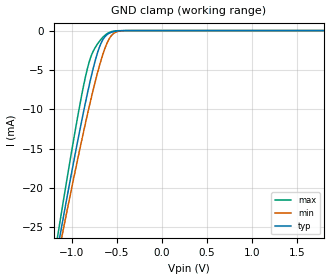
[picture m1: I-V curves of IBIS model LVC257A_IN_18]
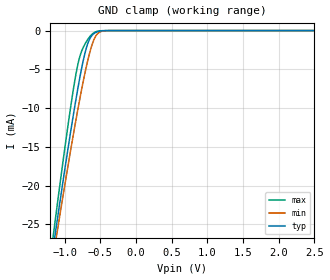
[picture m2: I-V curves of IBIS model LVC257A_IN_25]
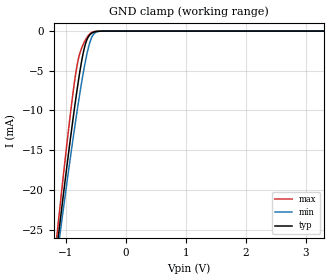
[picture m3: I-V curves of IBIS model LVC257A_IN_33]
| TEXAS INSTRUMENTS INCORPORATED
| Standard Linear and Logic Group
| IBIS Model of SN74LVC257A
| QUADRUPLE 2-LINE TO 1-LINE DATA SELECTORS/MULTIPLEXERS WITH 3-STATE OUTPUTS
| This file contains package information for the following:
|  SOIC 16-pin (D) package as [Component] LVC257A_D
|  SOP 16-pin (NS) package as [Component] LVC257A_NS
|  SSOP 16-pin (DB) package as [Component] LVC257A_DB
|  TSSOP 16-pin (PW) package as [Component] LVC257A_PW
| This device can be powered at the following Vccs:
|  1.8 volt Vcc
|  2.5 volt Vcc
|  3.3 volt Vcc
| This file provides unique models under the [Model Selector] for each Vcc.
| For operation at a specific Vcc, select the appropriate model after each
| [Model Selector] keyword.
[IBIS Ver]   3.2
[Comment char]  |_char
[File Name]   sn74lvc257a.ibs
[File Rev]   1.1 | j-die
[Date]   July 17, 2002
[Source]   Data created from TI-SPICE simulations at TI-SLL.
[Notes]   The following is an IBIS list for the LVC257A.
   Please contact sllibis@ti.com with questions and
   comments concerning SLL IBIS models.
   -Due the absense of Power Clamp diodes, we have removed
   Power Clamp Table data from some Models.
   -Due to the fact that the Device is 5.5-V Input tolarent,
   the pulldown model has some Non-Monotonic Warnings.
[Disclaimer] Property of Texas Instruments Incorporated.  Unauthorized
                reproduction and/or distribution is strictly prohibited.
                This product is protected under copyright law.
                Created  2002, (C) Copyright  2002, Texas Instruments
                Incorporated, All Rights Reserved
                UNLESS THERE IS A SIGNED, WRITTEN AGREEMENT TO THE
                CONTRARY, TEXAS INSTRUMENTS (TI) IS PROVIDING THE IBIS
                MODELS  AND WITHOUT ANY WARRANTY, EXPRESSED OR
                IMPLIED.  TI assumes no liability for:
                 1) the accuracy of the IBIS models provided to your
                    company;
                 2) the proper functioning of these IBIS Models in your
                    design or for any resulting applications; or
                 3) infringement of patents, copyrights or intellectual
                    property rights resulting from your use of these IBIS
                    models.
                TI provides IBIS Models as a service to our customers.
                You and your company shall not distribute, sell or give
                these models to anyone else without prior written
                permission from TI.
                TI reserves the right to make changes to our products or
                to discontinue any semiconductor product or service
                without notice, and advises our customers to obtain the
                latest version of relevant information to verify, before
                placing orders, that the information being relied on is
                current.
                Please be aware that your receipt and use of the IBIS
                information provided shall serve as acceptance of these
                terms and conditions.  If you do not accept these terms,
                you should return or destroy the IBIS models and any
                other accompanying information immediately.
| Component LVC257A_D 16-pin SOIC
[Component]   LVC257_D
[Manufacturer]   Texas Instruments, Inc.
[Package]
|   typ   min   max
R_pkg   3.900e-02   2.800e-02   4.900e-02
L_pkg   3.453e-09   2.350e-09   4.375e-09
C_pkg   5.210e-13   2.540e-13   7.080e-13
[Pin]   signal_name   model_name   R_pin   L_pin   C_pin
1   SEL   LVC257A_IN   4.200e-02   4.336e-09   7.030e-13
2   1A   LVC257A_IN   4.900e-02   3.778e-09   6.340e-13
3   1B   LVC257A_IN   2.800e-02   3.449e-09   5.180e-13
4   1Y   LVC257A_OUT   2.900e-02   2.393e-09   2.540e-13
5   2A   LVC257A_IN   2.800e-02   2.350e-09   2.640e-13
6   2B   LVC257A_IN   4.800e-02   3.312e-09   4.830e-13
7   2Y   LVC257A_OUT   4.300e-02   3.629e-09   6.040e-13
8   GND   GND   4.400e-02   4.375e-09   7.080e-13
9   3Y   LVC257A_OUT   4.200e-02   4.336e-09   7.030e-13
10   3B   LVC257A_IN   4.900e-02   3.778e-09   6.340e-13
11   3A   LVC257A_IN   2.800e-02   3.449e-09   5.180e-13
12   4Y   LVC257A_OUT   2.900e-02   2.393e-09   2.550e-13
13   4B   LVC257A_IN   2.800e-02   2.350e-09   2.640e-13
14   4A   LVC257A_IN   4.800e-02   3.312e-09   4.830e-13
15   G   LVC257A_IN   4.300e-02   3.629e-09   6.040e-13
16   VCC   POWER   4.400e-02   4.375e-09   7.080e-13
| Component LVC257A_NS 16-pin SOP
[Component]   LVC257_NS
[Manufacturer]   Texas Instruments, Inc.
[Package]
|   typ   min   max
R_pkg   4.200e-02   3.500e-02   4.900e-02
L_pkg   3.147e-09   2.164e-09   4.219e-09
C_pkg   4.040e-13   2.410e-13   5.620e-13
[Pin]   signal_name   model_name   R_pin   L_pin   C_pin
1   SEL   LVC257A_IN   4.900e-02   4.215e-09   5.620e-13
2   1A   LVC257A_IN   4.600e-02   3.675e-09   4.800e-13
3   1B   LVC257A_IN   3.700e-02   2.527e-09   3.320e-13
4   1Y   LVC257A_OUT   3.500e-02   2.164e-09   2.410e-13
5   2A   LVC257A_IN   3.500e-02   2.164e-09   2.410e-13
6   2B   LVC257A_IN   3.700e-02   2.527e-09   3.320e-13
7   2Y   LVC257A_OUT   4.600e-02   3.675e-09   4.800e-13
8   GND   GND   4.900e-02   4.215e-09   5.620e-13
9   3Y   LVC257A_OUT   4.900e-02   4.219e-09   5.620e-13
10   3B   LVC257A_IN   4.600e-02   3.679e-09   4.800e-13
11   3A   LVC257A_IN   3.700e-02   2.531e-09   3.330e-13
12   4Y   LVC257A_OUT   3.500e-02   2.168e-09   2.410e-13
13   4B   LVC257A_IN   3.500e-02   2.168e-09   2.410e-13
14   4A   LVC257A_IN   3.700e-02   2.531e-09   3.330e-13
15   OEBAR   LVC257A_IN_OEBAR   4.600e-02   3.679e-09   4.800e-13
16   VCC   POWER   4.900e-02   4.219e-09   5.620e-13
| Component LVC257A_DB 16-pin SSOP
[Component]   LVC257_DB
[Manufacturer]   Texas Instruments, Inc.
[Package]
|   typ   min   max
R_pkg   4.800e-02   4.600e-02   5.000e-02
L_pkg   3.536e-09   3.213e-09   3.798e-09
C_pkg   3.760e-13   3.140e-13   4.400e-13
[Pin]   signal_name   model_name   R_pin   L_pin   C_pin
1   SEL   LVC257A_IN   4.800e-02   3.797e-09   3.770e-13
2   1A   LVC257A_IN   4.600e-02   3.723e-09   4.400e-13
3   1B   LVC257A_IN   4.800e-02   3.409e-09   3.720e-13
4   1Y   LVC257A_OUT   4.900e-02   3.213e-09   3.140e-13
5   2A   LVC257A_IN   4.900e-02   3.213e-09   3.140e-13
6   2B   LVC257A_IN   4.800e-02   3.409e-09   3.720e-13
7   2Y   LVC257A_OUT   4.600e-02   3.723e-09   4.400e-13
8   GND   GND   4.800e-02   3.798e-09   3.770e-13
9   3Y   LVC257A_OUT   4.800e-02   3.797e-09   3.770e-13
10   3B   LVC257A_IN   4.600e-02   3.725e-09   4.400e-13
11   3A   LVC257A_IN   4.800e-02   3.409e-09   3.720e-13
12   4Y   LVC257A_OUT   4.900e-02   3.214e-09   3.140e-13
13   4B   LVC257A_IN   5.000e-02   3.216e-09   3.140e-13
14   4A   LVC257A_IN   4.800e-02   3.409e-09   3.720e-13
15   OEBAR   LVC257A_IN_OEBAR   4.700e-02   3.729e-09   4.400e-13
16   VCC   POWER   4.800e-02   3.797e-09   3.770e-13
| Component LVC257A_PW 16-pin TSSOP
[Component]   LVC257A_PW
[Manufacturer]   Texas Instruments, Inc.
[Package]
|   typ   min   max
R_pkg   4.500e-02   3.800e-02   5.100e-02
L_pkg   2.593e-09   2.447e-09   3.080e-09
C_pkg   2.810e-13   2.430e-13   3.770e-13
[Pin]   signal_name   model_name   R_pin   L_pin   C_pin
1   SEL   LVC257A_IN   4.000e-02   3.080e-09   3.770e-13
2   1A   LVC257A_IN   3.800e-02   2.458e-09   2.810e-13
3   1B   LVC257A_IN   5.100e-02   2.512e-09   2.550e-13
4   1Y   LVC257A_OUT   5.100e-02   2.447e-09   2.430e-13
5   2A   LVC257A_IN   5.100e-02   2.447e-09   2.430e-13
6   2B   LVC257A_IN   5.100e-02   2.512e-09   2.550e-13
7   2Y   LVC257A_OUT   3.800e-02   2.458e-09   2.810e-13
8   GND   GND   4.000e-02   3.080e-09   3.770e-13
9   3Y   LVC257A_OUT   3.900e-02   2.832e-09   3.160e-13
10   3B   LVC257A_IN   3.800e-02   2.460e-09   2.790e-13
11   3A   LVC257A_IN   5.100e-02   2.512e-09   2.550e-13
12   4Y   LVC257A_OUT   5.100e-02   2.447e-09   2.430e-13
13   4B   LVC257A_IN   5.100e-02   2.447e-09   2.430e-13
14   4A   LVC257A_IN   5.100e-02   2.512e-09   2.550e-13
15   G   LVC257A_IN   3.800e-02   2.459e-09   2.790e-13
16   VCC   POWER   3.900e-02   2.832e-09   3.160e-13
| Model LVC257A_IN
[Model Selector]   LVC257A_IN
LVC257A_IN_18   1.8 volt Vcc
LVC257A_IN_25   2.5 volt Vcc
LVC257A_IN_33   3.3 volt Vcc
| Model LVC257A_IN_OEBAR
[Model Selector]   LVC257A_IN_OEBAR
LVC257A_IN_OEBAR_18   1.8 volt Vcc
LVC257A_IN_OEBAR_25   2.5 volt Vcc
LVC257A_IN_OEBAR_33   3.3 volt Vcc
| Model LVC257A_OUT
[Model Selector]   LVC257A_OUT
LVC257A_OUT_18   1.8 volt Vcc
LVC257A_OUT_25   2.5 volt Vcc
LVC257A_OUT_33   3.3 volt Vcc
| Models and submodels in the file (9): LVC257A_IN_18 (Input), LVC257A_IN_25 (Input), LVC257A_IN_33 (Input), LVC257A_IN_OEBAR_18 (Input), LVC257A_IN_OEBAR_25 (Input), LVC257A_IN_OEBAR_33 (Input), LVC257A_OUT_18 (3-state), LVC257A_OUT_25 (3-state), LVC257A_OUT_33 (3-state)
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[Model]   LVC257A_IN_18
Model_type  Input
Vinl=0.5775
Vinh=1.2675
| variable   typ   min   max
C_comp   2.65pF   2.19pF   3.18pF
[Temperature Range]   40   100   -40
| Ambient temperature   25   85   -40
[Voltage range]   1.8   1.65   1.95
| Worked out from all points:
|   GND clamp passes 1 mA (typ) near -0.64 V on its own axis
[GND Clamp]
| LVC257A_IN_18
|   Voltage   I(typ)   I(min)   I(max)
-5.5V     -338.9mA   -314.3mA   -369mA
-1.16V    -28.09mA   -29.24mA   -26.56mA
-1.12V    -25.56mA   -26.92mA   -23.71mA
-1.085V   -23.36mA   -24.91mA   -21.25mA
-925mV    -13.65mA   -15.98mA   -10.52mA
-820mV    -7.797mA   -10.48mA   -4.654mA
-770mV    -5.293mA   -8.026mA   -2.891mA
-695mV    -2.253mA   -4.666mA   -1.432mA
-600mV    -473.7uA   -1.449mA   -358.4uA
-535mV    -136.2uA   -379.8uA   -78.5uA
-445mV    -16.2uA    -36.49uA   -4.833uA
1.8V      41.95pA    147.4pA    23.47pA
[Model]   LVC257A_IN_25
Model_type  Input
Vinl=0.7
Vinh=1.7
| variable   typ   min   max
C_comp   2.57pF   2.03pF   3.22pF
[Temperature Range]   40   100   -40
| Ambient temperature   25   85   -40
[Voltage range]   2.5   2.3   2.7
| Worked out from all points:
|   GND clamp passes 1 mA (typ) near -0.64 V on its own axis
[GND Clamp]
| LVC257A_IN_25
|   Voltage   I(typ)   I(min)   I(max)
-5.5V     -338.9mA   -314.3mA   -369mA
-1.17V    -28.73mA   -29.82mA   -27.27mA
-1.13V    -26.19mA   -27.5mA    -24.42mA
-1.095V   -23.98mA   -25.48mA   -21.95mA
-925mV    -13.65mA   -15.98mA   -10.52mA
-825mV    -8.06mA    -10.74mA   -4.88mA
-775mV    -5.531mA   -8.266mA   -3.027mA
-700mV    -2.416mA   -4.874mA   -1.51mA
-590mV    -396.4uA   -1.217mA   -293.2uA
-515mV    -88.16uA   -231.8uA   -44.89uA
-395mV    -4.232uA   -9.445uA   -775nA
2.5V      57.25pA    176.8pA    32.61pA
[Model]   LVC257A_IN_33
Model_type  Input
Vinl=0.8
Vinh=2.0
| variable   typ   min   max
C_comp   2.50pF   1.91pF   3.14pF
[Temperature Range]   40   100   -40
| Ambient temperature   25   85   -40
[Voltage range]   3.3   3   3.6
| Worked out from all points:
|   GND clamp passes 1 mA (typ) near -0.64 V on its own axis
[GND Clamp]
| LVC257A_IN_33
|   Voltage   I(typ)   I(min)   I(max)
-5.5V     -338.9mA   -314.3mA   -369mA
-1.14V    -26.82mA   -28.07mA   -25.13mA
-1.105V   -24.61mA   -26.05mA   -22.65mA
-1.075V   -22.73mA   -24.34mA   -20.55mA
-915mV    -13.07mA   -15.45mA   -9.893mA
-860mV    -9.954mA   -12.53mA   -6.658mA
-805mV    -7.019mA   -9.733mA   -4.027mA
-730mV    -3.528mA   -6.174mA   -2.02mA
-665mV    -1.428mA   -3.486mA   -1.009mA
-585mV    -362.1uA   -1.111mA   -263.9uA
-510mV    -78.77uA   -204.1uA   -38.82uA
3.3V      76.2pA     212.8pA    43.07pA
